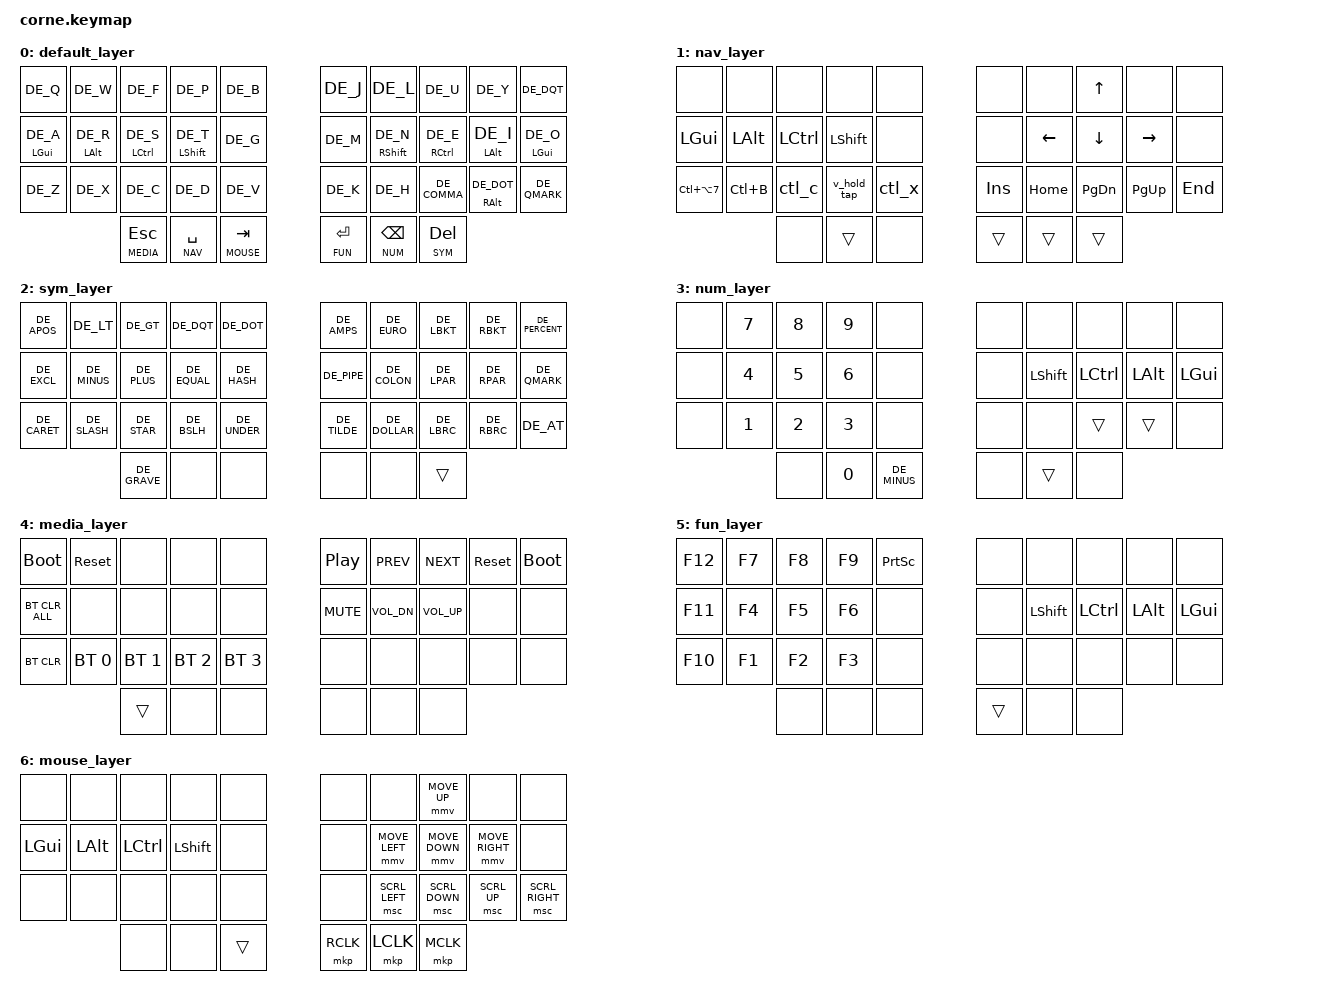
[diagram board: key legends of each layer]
/*
 * Copyright (c) 2020 The ZMK Contributors
 *
 * SPDX-License-Identifier: MIT
 */

 #define ZMK_POINTING_DEFAULT_MOVE_VAL 1500  // default: 600
 #define ZMK_POINTING_DEFAULT_SCRL_VAL 10   // default: 10

#include <behaviors.dtsi>
#include <dt-bindings/zmk/bt.h>
#include <dt-bindings/zmk/keys.h>
#include <dt-bindings/zmk/pointing.h>
#include "keys_de.h"

#define DEFAULT 0
#define NAV     1
#define SYM     2
#define NUM     3
#define MEDIA   4
#define FUN     5
#define MOUSE   6

#define KEYS_L 0 1 2 3 4 5 10 11 12 13 14 20 21 22 23 24 31 32 33
#define KEYS_R 5 6 7 8 9 15 16 17 18 19 25 26 27 28 29 30 34 35 36


&lt {
    quick-tap-ms = <200>;
    tapping-term-ms = <170>;
};

&mmv {
    x-input-code = <INPUT_REL_X>;
    y-input-code = <INPUT_REL_Y>;
    time-to-max-speed-ms = <800>; // Time to reach max speed in milliseconds, default is 300ms
    acceleration-exponent = <1>;
};

/ {

    chosen { zmk,matrix_transform = &five_column_transform; };

    behaviors {
        hml: home_row_mod_left {
                    compatible = "zmk,behavior-hold-tap";
                    #binding-cells = <2>;
                    flavor = "balanced";
                    require-prior-idle-ms = <100>;
                    tapping-term-ms = <280>;
                    quick-tap-ms = <175>;
                    bindings = <&kp>, <&kp>;
                    hold-trigger-key-positions = <KEYS_R>; // List of keys on the right side of the keyboard
                    hold-trigger-on-release;
                };
        hmr: home_row_mod_right {
                    compatible = "zmk,behavior-hold-tap";
                    #binding-cells = <2>;
                    flavor = "balanced";
                    require-prior-idle-ms = <100>;
                    tapping-term-ms = <280>;
                    quick-tap-ms = <175>;
                    bindings = <&kp>, <&kp>;
                    hold-trigger-key-positions = <KEYS_L>; // List of keys on the left side of the keyboard
                    hold-trigger-on-release;
                };

        lt_slow: layer_tap {
                    compatible = "zmk,behavior-hold-tap";
                    #binding-cells = <2>;
                    flavor = "tap-preferred";
                    tapping-term-ms = <280>;
                    quick-tap-ms = <300>;
                    bindings = <&mo>, <&kp>;
                    display-name = "Layer-Tap";
                };

        v_hold_tap: v_hold_tap {
                compatible = "zmk,behavior-hold-tap";
                #binding-cells = <0>;
                flavor = "tap-preferred";
                tapping-term-ms = <200>;
                quick-tap-ms = <0>;
                bindings = <&ctl_s_v>, <&ctl_v>;
            };

    };

    macros {

        // some programs seem to require a delay before pasting
        ctl_v: ctrl-v-macro {
          compatible = "zmk,behavior-macro";
          #binding-cells = <0>;
          bindings = <&macro_press &kp LCTRL>
                  , <&macro_tap &kp V>
                  , <&macro_release &kp LCTRL>;
        };

        ctl_c: ctrl-c-macro {
          compatible = "zmk,behavior-macro";
          #binding-cells = <0>;
          bindings = <&macro_press &kp LCTRL>
                    , <&macro_tap &kp C>
                    , <&macro_release &kp LCTRL>;
        };

        ctl_x: ctrl-x-macro {
          compatible = "zmk,behavior-macro";
          #binding-cells = <0>;
          bindings = <&macro_press &kp LCTRL>
                    , <&macro_tap &kp X>
                    , <&macro_release &kp LCTRL>;
        };

        ctl_s_v: ctrl-shift-v-macro {
          compatible = "zmk,behavior-macro";
          #binding-cells = <0>;
          bindings = <&macro_press &kp LCTRL &kp LSHIFT>
                    , <&macro_tap &kp V>
                    , <&macro_release &kp LCTRL &kp LSHIFT>;
        };
      };

    combos {
        compatible = "zmk,combos";

        combo_ae {
            timeout-ms = <50>;
            key-positions = <1 2>;
            bindings = <&kp DE_A_UMLAUT>;
            layers = <0>;
        };

        combo_ss {
            timeout-ms = <50>;
            key-positions = <2 3>;
            bindings = <&kp DE_SZ>;
            layers = <0>;
        };

        combo_oe {
            timeout-ms = <50>;
            key-positions = <6 7>;
            bindings = <&kp DE_O_UMLAUT>;
            layers = <0>;
        };

        combo_ue {
            timeout-ms = <50>;
            key-positions = <7 8>;
            bindings = <&kp DE_U_UMLAUT>;
            layers = <0>;
        };

        combo_slash {
            timeout-ms = <50>;
            key-positions = <22 23>;
            bindings = <&kp DE_SLASH>;
            layers = <0>;
        };
        
        combo_caps_word {
            timeout-ms = <50>;
            key-positions = <13 16>;
            bindings = <&caps_word>;
            layers = <0>;
        };

        combo_minus {
            timeout-ms = <50>;
            key-positions = <26 27>;
            bindings = <&kp DE_MINUS>;
            layers = <0>;
        };


    };

    keymap {
        compatible = "zmk,keymap";

        default_layer {
            bindings = <
  &kp DE_Q            &kp DE_W            &kp DE_F             &kp DE_P              &kp DE_B             &kp DE_J          &kp DE_L               &kp DE_U              &kp DE_Y              &kp DE_DQT
  &hml LEFT_GUI DE_A  &hml LEFT_ALT DE_R  &hml LCTRL DE_S      &hml LEFT_SHIFT DE_T  &kp DE_G             &kp DE_M          &hmr RIGHT_SHIFT DE_N  &hmr RCTRL DE_E       &hmr LEFT_ALT DE_I    &hmr LEFT_GUI DE_O
  &kp DE_Z            &kp DE_X            &kp DE_C             &kp DE_D              &kp DE_V             &kp DE_K          &kp DE_H               &kp DE_COMMA          &hmr RIGHT_ALT DE_DOT &kp DE_QMARK
                                          &lt MEDIA ESCAPE     &lt NAV SPACE         &lt_slow MOUSE TAB   &lt_slow FUN ENTER     &lt NUM BACKSPACE      &lt SYM DELETE
            >;
        };

        nav_layer {
            bindings = <
                &none           &none       &none       &none             &none           &none    &none       &kp UP        &none       &none
                &kp LGUI        &kp LALT    &kp LCTRL   &kp LSHFT         &none           &none    &kp LEFT    &kp DOWN      &kp RIGHT   &none
                &kp LC(LA(N7))  &kp LC(B)   &ctl_c      &v_hold_tap       &ctl_x          &kp INS  &kp HOME    &kp PG_DN     &kp PG_UP   &kp END
                                        &none       &trans           &none                          &trans    &trans      &trans
            >;
        };

        sym_layer {
            bindings = <
                &kp DE_APOS  &kp DE_LT    &kp DE_GT    &kp DE_DQT    &kp DE_DOT       &kp DE_AMPS   &kp DE_EURO    &kp DE_LBKT    &kp DE_RBKT    &kp DE_PERCENT
                &kp DE_EXCL  &kp DE_MINUS &kp DE_PLUS  &kp DE_EQUAL  &kp DE_HASH      &kp DE_PIPE   &kp DE_COLON   &kp DE_LPAR    &kp DE_RPAR    &kp DE_QMARK
                &kp DE_CARET &kp DE_SLASH &kp DE_STAR  &kp DE_BSLH   &kp DE_UNDER     &kp DE_TILDE  &kp DE_DOLLAR  &kp DE_LBRC    &kp DE_RBRC    &kp DE_AT
                                          &kp DE_GRAVE &none         &none            &none         &none          &trans
            >;
        };

        num_layer {
             bindings = <
                &none    &kp N7      &kp N8      &kp N9        &none           &none       &none       &none       &none      &none
                &none    &kp N4      &kp N5      &kp N6        &none           &none       &kp LSHFT   &kp LCTRL   &kp LALT   &kp LGUI
                &none    &kp N1      &kp N2      &kp N3        &none           &none       &none       &trans       &trans      &none
                                     &none       &kp N0        &kp DE_MINUS    &none       &trans      &none
            >;
        };

        media_layer {
            bindings = <
                &bootloader     &sys_reset   &none        &none        &none           &kp C_PP    &kp C_PREV  &kp C_NEXT    &sys_reset  &bootloader
                &bt BT_CLR_ALL  &none        &none        &none        &none           &kp C_MUTE  &kp C_VOL_DN &kp C_VOL_UP &none       &none
                &bt BT_CLR      &bt BT_SEL 0 &bt BT_SEL 1 &bt BT_SEL 2 &bt BT_SEL 3    &none       &none       &none          &none       &none
                                             &trans       &none        &none           &none       &none       &none
            >;
        };

        fun_layer {
            bindings = <
                &kp F12    &kp F7      &kp F8      &kp F9      &kp PRINTSCREEN  &none       &none       &none       &none      &none
                &kp F11    &kp F4      &kp F5      &kp F6      &none            &none       &kp LSHFT   &kp LCTRL   &kp LALT   &kp LGUI
                &kp F10    &kp F1      &kp F2      &kp F3      &none            &none       &none       &none       &none      &none
                                       &none       &none       &none            &trans      &none      &none
            >;
        };

        mouse_layer {
            bindings = <
                &none       &none       &none       &none       &none           &none            &none             &mmv MOVE_UP    &none             &none
                &kp LGUI    &kp LALT    &kp LCTRL   &kp LSHFT   &none           &none            &mmv MOVE_LEFT    &mmv MOVE_DOWN  &mmv MOVE_RIGHT   &none
                &none       &none       &none       &none       &none           &none            &msc SCRL_LEFT    &msc SCRL_DOWN  &msc SCRL_UP      &msc SCRL_RIGHT
                                        &none       &none       &trans          &mkp RCLK        &mkp LCLK         &mkp MCLK
            >;
        };


    };
};
